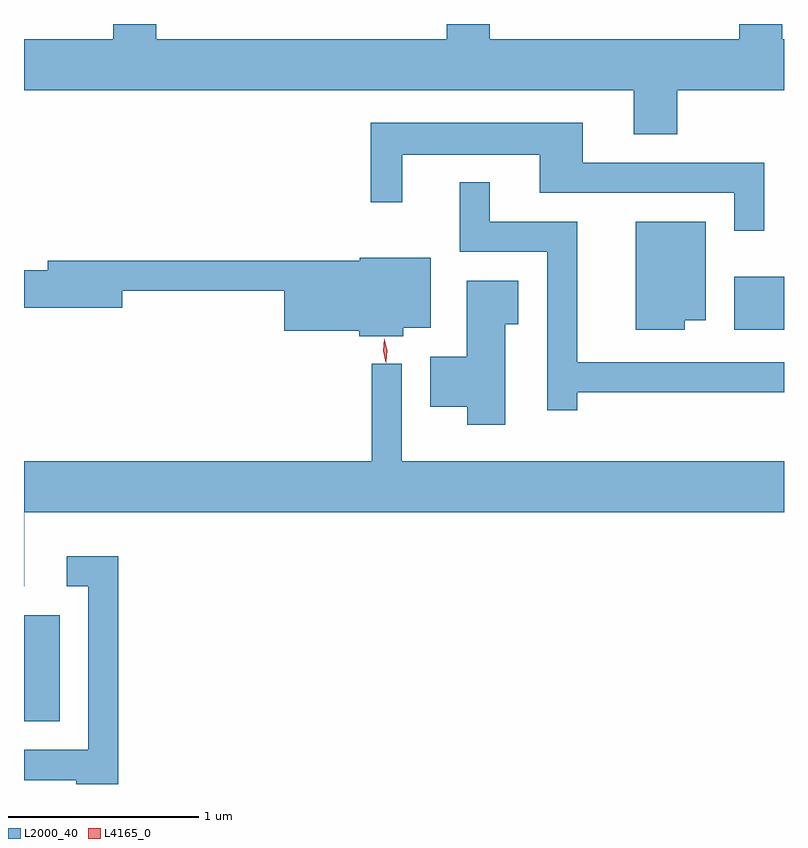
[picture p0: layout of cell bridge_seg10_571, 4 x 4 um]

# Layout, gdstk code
import gdstk
lib = gdstk.Library(unit=1e-6, precision=1e-09)
def R(c, l, rs):  # rectangles x0, y0, x1, y1
    for r in rs: c.add(gdstk.rectangle(r[:2], r[2:], *l))
def P(c, l, *ps):  # polygons
    for p in ps: c.add(gdstk.Polygon(p, *l))
L2000_40 = (2000, 40)
L4165_0 = (4165, 0)

bridge_seg10_571 = lib.new_cell('bridge_seg10_571')
R(bridge_seg10_571, L2000_40, [(703.777,2159.436,703.964,2159.994), (707.516,2161.496,707.777,2161.774)])
P(bridge_seg10_571, L2000_40, [(707.214,2162.756),(707.777,2162.756),(707.777,2163.024),(707.769,2163.024),(707.769,2163.105),(707.541,2163.105),(707.541,2163.024),(706.229,2163.024),(706.229,2163.105),(706.001,2163.105),(706.001,2163.024),(704.474,2163.024),(704.474,2163.105),(704.246,2163.105),(704.246,2163.024),(703.777,2163.024),(703.777,2162.756),(706.986,2162.756),(706.986,2162.526),(707.214,2162.526)],
  [(707.674,2162.374),(706.719,2162.374),(706.719,2162.584),(705.601,2162.584),(705.601,2162.168),(705.769,2162.168),(705.769,2162.416),(706.491,2162.416),(706.491,2162.216),(707.516,2162.216),(707.516,2162.018),(707.674,2162.018)],
  [(706.689,2161.166),(707.777,2161.166),(707.777,2161.324),(706.689,2161.324),(706.689,2162.064),(706.229,2162.064),(706.229,2162.273),(706.071,2162.273),(706.071,2161.906),(706.531,2161.906),(706.531,2161.073),(706.689,2161.073)],
  [(707.254,2161.546),(707.364,2161.546),(707.364,2162.064),(706.996,2162.064),(706.996,2161.496),(707.254,2161.496)],
  [(705.774,2161.506),(705.919,2161.506),(705.919,2161.874),(705.545,2161.874),(705.545,2161.859),(703.901,2161.859),(703.901,2161.809),(703.777,2161.809),(703.777,2161.611),(704.294,2161.611),(704.294,2161.701),(705.146,2161.701),(705.146,2161.491),(705.541,2161.491),(705.541,2161.461),(705.774,2161.461)],
  [(706.309,2161.526),(706.379,2161.526),(706.379,2161.754),(706.106,2161.754),(706.106,2161.354),(705.916,2161.354),(705.916,2161.091),(706.111,2161.091),(706.111,2160.996),(706.309,2160.996)],
  [(703.779,2160.536),(707.777,2160.536),(707.777,2160.804),(705.764,2160.804),(705.764,2161.318),(705.606,2161.318),(705.606,2160.804),(703.777,2160.804),(703.777,2160.146),(703.779,2160.146)],
  [(704.274,2160.304),(704.003,2160.304),(704.003,2160.146),(704.116,2160.146),(704.116,2159.284),(703.777,2159.284),(703.777,2159.126),(704.051,2159.126),(704.051,2159.105),(704.274,2159.105)])
P(bridge_seg10_571, L4165_0, [(705.683,2161.323),(705.682,2161.324),(705.668,2161.385),(705.672,2161.448),(705.673,2161.448),(705.673,2161.448),(705.688,2161.387),(705.683,2161.324)])

lib.write_gds('bridge_seg10_571.gds')
